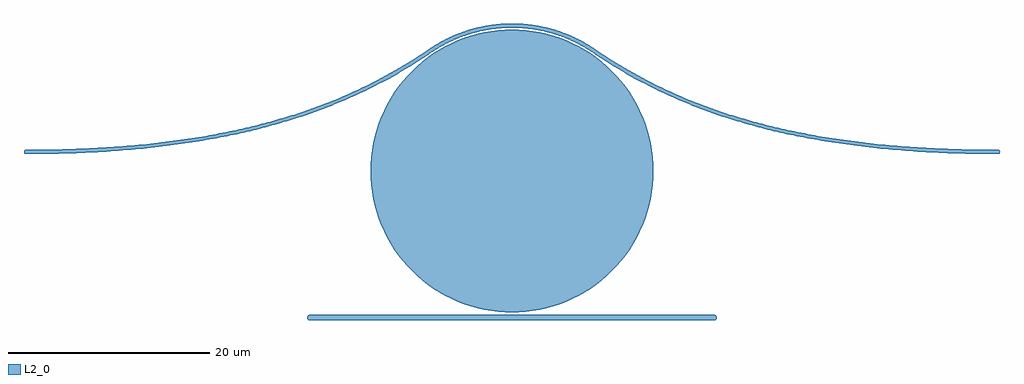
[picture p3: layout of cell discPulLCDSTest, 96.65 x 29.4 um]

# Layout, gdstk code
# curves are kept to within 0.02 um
import gdstk
lib = gdstk.Library(unit=1e-6, precision=1e-09)
def P(c, l, *ps):  # polygons
    for p in ps: c.add(gdstk.Polygon(p, *l))
L2_0 = (2, 0)

discpullcdstest = lib.new_cell('discPulLCDSTest')
P(discpullcdstest, L2_0, [(10,6),(8.628,6.067),(7.269,6.269),(5.936,6.603),(4.642,7.066),(3.4,7.653),(2.222,8.359),(1.118,9.178),(0.101,10.101),(-0.822,11.118),(-1.641,12.222),(-2.347,13.4),(-2.934,14.642),(-3.397,15.936),(-3.731,17.269),(-3.933,18.628),(-4,20),(-3.933,21.372),(-3.731,22.731),(-3.397,24.064),(-2.934,25.358),(-2.347,26.6),(-1.641,27.778),(-0.822,28.882),(0.101,29.899),(1.118,30.822),(2.222,31.641),(3.4,32.347),(4.642,32.934),(5.936,33.397),(7.269,33.731),(8.628,33.933),(10,34),(11.372,33.933),(12.731,33.731),(14.064,33.397),(15.358,32.934),(16.6,32.347),(17.778,31.641),(18.882,30.822),(19.899,29.899),(20.822,28.882),(21.641,27.778),(22.347,26.6),(22.934,25.358),(23.397,24.064),(23.731,22.731),(23.933,21.372),(24,20),(23.933,18.628),(23.731,17.269),(23.397,15.936),(22.934,14.642),(22.347,13.4),(21.641,12.222),(20.822,11.118),(19.899,10.101),(18.882,9.178),(17.778,8.359),(16.6,7.653),(15.358,7.066),(14.064,6.603),(12.731,6.269),(11.372,6.067)],
  [(-38.127,21.688),(-38.127,22.088),(-34.483,22.136),(-30.611,22.302),(-26.58,22.62),(-23.549,22.971),(-21.032,23.345),(-18.634,23.778),(-16.352,24.269),(-14.179,24.815),(-11.822,25.503),(-9.592,26.255),(-7.226,27.174),(-5.241,28.051),(-3.819,28.744),(-2.007,29.712),(0.135,30.986),(2.667,32.625),(3.574,33.11),(4.513,33.53),(5.807,33.985),(7.138,34.317),(8.63,34.536),(10,34.6),(10,34.2),(8.601,34.131),(7.807,34.03),(7.085,33.898),(5.73,33.543),(4.479,33.083),(3.69,32.721),(2.81,32.245),(0.328,30.635),(-1.83,29.353),(-3.655,28.379),(-5.086,27.682),(-7.084,26.8),(-9.465,25.876),(-11.997,25.029),(-14.383,24.346),(-16.906,23.733),(-19.574,23.192),(-22.395,22.728),(-25.376,22.345),(-28.527,22.046),(-31.428,21.856),(-34.47,21.736)],
  [(58.127,21.688),(54.47,21.736),(51.428,21.856),(48.527,22.046),(45.376,22.345),(42.395,22.728),(39.574,23.192),(36.906,23.733),(34.383,24.346),(31.997,25.029),(29.465,25.876),(27.084,26.8),(25.086,27.682),(23.655,28.379),(21.83,29.353),(19.672,30.635),(17.19,32.245),(16.31,32.721),(15.521,33.083),(14.27,33.543),(12.915,33.898),(12.193,34.03),(11.399,34.131),(10,34.2),(10,34.6),(11.37,34.536),(12.862,34.317),(14.193,33.985),(15.487,33.53),(16.426,33.11),(17.333,32.625),(19.865,30.986),(22.007,29.712),(23.819,28.744),(25.241,28.051),(27.226,27.174),(29.592,26.255),(31.822,25.503),(34.179,24.815),(36.352,24.269),(38.634,23.778),(41.032,23.345),(43.549,22.971),(46.58,22.62),(50.611,22.302),(54.483,22.136),(58.127,22.088)],
  [(-10,5.2),(-10.107,5.222),(-10.194,5.281),(-10.253,5.368),(-10.275,5.475),(-10.253,5.582),(-10.194,5.669),(-10.107,5.728),(-10,5.75),(30,5.75),(30.107,5.728),(30.194,5.669),(30.253,5.582),(30.275,5.475),(30.253,5.368),(30.194,5.281),(30.107,5.222),(30,5.2)],
  [(58.127,21.688),(58.127,22.088),(58.205,22.072),(58.268,22.029),(58.311,21.966),(58.327,21.888),(58.311,21.81),(58.268,21.746),(58.205,21.703)],
  [(-38.127,21.688),(-38.205,21.703),(-38.268,21.746),(-38.311,21.81),(-38.327,21.888),(-38.311,21.966),(-38.268,22.029),(-38.205,22.072),(-38.127,22.088)])

lib.write_gds('discPulLCDSTest.gds')
